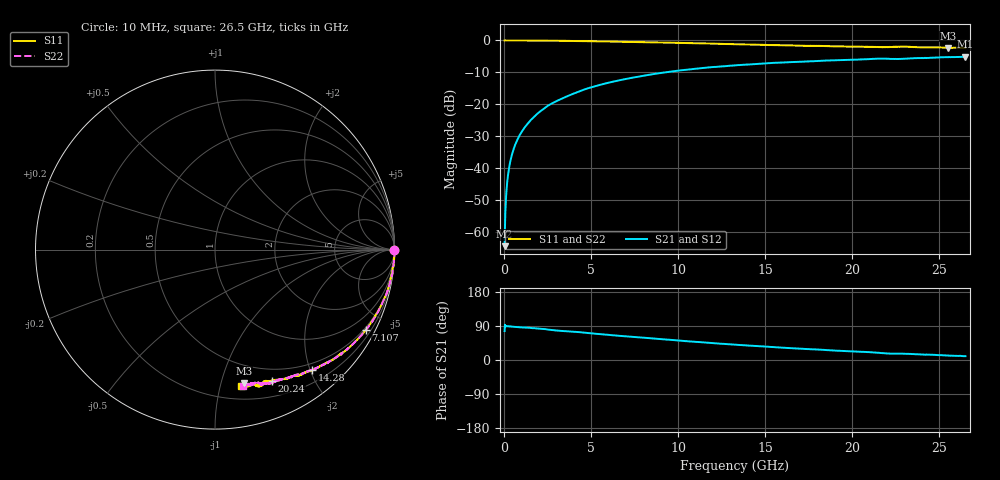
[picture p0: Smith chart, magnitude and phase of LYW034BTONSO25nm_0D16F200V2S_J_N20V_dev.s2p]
!Keysight Technologies,N5222B,MY61253708,A.15.00.15
!Date: Wednesday, June 19, 2024 08:48:37
!Correction: S11(C  2-Port  )
!S21(C  2-Port  )
!S12(C  2-Port  )
!S22(C  2-Port  )
!S2P File: Measurements: S11, S21, S12, S22:
# Hz S  RI  R 50
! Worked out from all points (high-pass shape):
!   2651 points, 10 MHz to 26.5 GHz, reference 50 ohm
!   highest |S21| = -5.07 dB at 26.5 GHz (marker M1); lowest = -64.5 dB at 10 MHz (marker M2)
!   |S21| within 3 dB of the highest: 12.64 GHz to end of sweep
!   lowest |S11| = -2.4 dB at 25.5 GHz (marker M3), VSWR 7.39, Z = 16.7 - j59.1 ohm
!   |S11| at or under -10 dB: nowhere
!   |S22| runs from -2.3 to 0.0 dB; largest |S21 - S12| = 0.0079
!   S11 on the Smith chart (normalised r, x): 10 MHz: open; 7.107 GHz: 0.42, -3.97; 14.28 GHz: 0.39, -2.03; 20.24 GHz: 0.36, -1.46; 26.5 GHz: 0.31, -1.16
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1e7  0.9983 -0.00217  0.00014 0.000582  0.000394 0.000722  0.9985 -0.00105
7.997358e7  0.9998 -0.006  3.3e-05 0.00298  3.4e-05 0.00299  0.9994 -0.00559
1.699396e8  0.9998 -0.0127  9.17e-05 0.00645  9.73e-05 0.00644  0.9996 -0.012
2.199208e8  0.9995 -0.0165  0.000169 0.00829  0.000171 0.00834  0.9992 -0.0156
2.898943e8  0.9995 -0.0215  0.000255 0.011  0.000259 0.011  0.9995 -0.0208
3.998528e8  0.9989 -0.0296  0.000455 0.0151  0.000486 0.0152  0.9991 -0.0284
5.298038e8  0.9987 -0.0384  0.00078 0.0199  0.000796 0.02  0.9988 -0.0378
8.996642e8  0.9967 -0.0653  0.00223 0.0335  0.00222 0.0337  0.9965 -0.0639
1.499438e9  0.9882 -0.1085  0.00554 0.056  0.00553 0.0562  0.9914 -0.1055
2.369109e9  0.9778 -0.1664  0.0136 0.0891  0.0139 0.0895  0.9793 -0.1665
3.208792e9  0.9631 -0.2232  0.0268 0.1166  0.0269 0.1171  0.9636 -0.222
4.428332e9  0.9309 -0.2997  0.0483 0.1573  0.0486 0.1581  0.933 -0.2968
7.107321e9  0.8408 -0.4466  0.1188 0.2233  0.12 0.224  0.8428 -0.4451
8.846664e9  0.7707 -0.5232  0.1721 0.2522  0.1735 0.2529  0.7729 -0.5213
1.3255e10  0.5817 -0.6515  0.3096 0.2644  0.3117 0.2643  0.5859 -0.6502
1.428461e10  0.5397 -0.6724  0.3374 0.2585  0.3394 0.2577  0.5443 -0.6681
1.767333e10  0.4053 -0.7153  0.4156 0.2234  0.4189 0.222  0.4172 -0.7137
2.024236e10  0.319 -0.7324  0.4642 0.189  0.4666 0.1875  0.3344 -0.7323
2.209166e10  0.2741 -0.7359  0.4928 0.1517  0.4941 0.1495  0.269 -0.7432
2.308129e10  0.2447 -0.7631  0.4974 0.1462  0.498 0.1462  0.2461 -0.7448
2.550038e10  0.1598 -0.7445  0.5362 0.1093  0.5377 0.1104  0.1808 -0.7507
2.65e10  0.1423 -0.759  0.5494 0.0981  0.5482 0.0951  0.155 -0.7595
